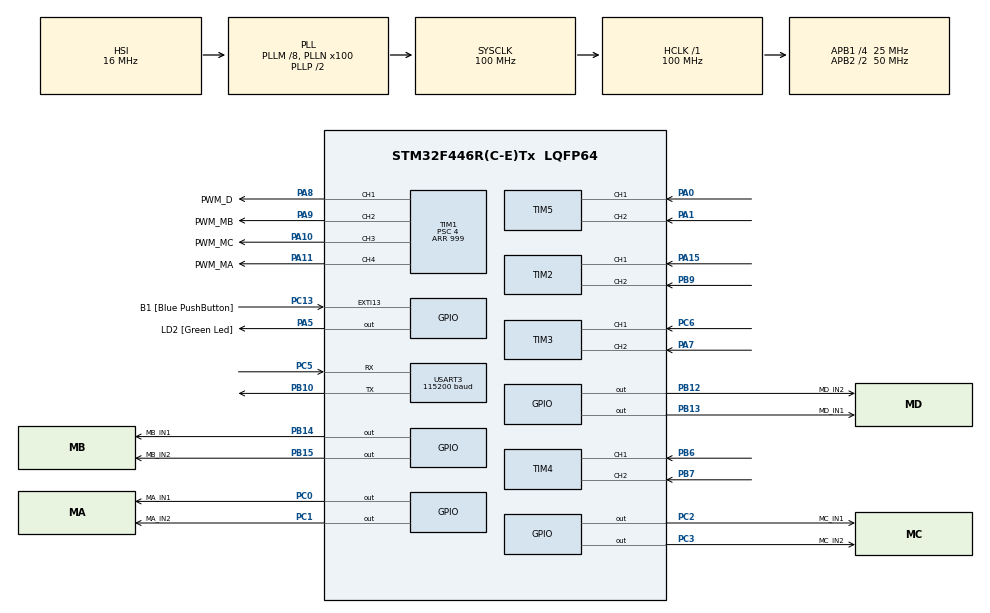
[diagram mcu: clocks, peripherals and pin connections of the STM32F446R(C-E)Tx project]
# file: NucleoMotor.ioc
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Dma.Request0=USART3_RX
Dma.USART3_RX.0.Direction=DMA_PERIPH_TO_MEMORY
Dma.USART3_RX.0.FIFOMode=DMA_FIFOMODE_DISABLE
Dma.USART3_RX.0.Instance=DMA1_Stream1
Dma.USART3_RX.0.MemDataAlignment=DMA_MDATAALIGN_BYTE
Dma.USART3_RX.0.MemInc=DMA_MINC_ENABLE
Dma.USART3_RX.0.Mode=DMA_NORMAL
Dma.USART3_RX.0.PeriphDataAlignment=DMA_PDATAALIGN_BYTE
Dma.USART3_RX.0.PeriphInc=DMA_PINC_DISABLE
Dma.USART3_RX.0.Priority=DMA_PRIORITY_LOW
Mcu.Family=STM32F4
Mcu.Name=STM32F446R(C-E)Tx
Mcu.Package=LQFP64
NVIC.DMA1_Stream1_IRQn=true\:0\:0\:false\:false\:true\:false\:true\:true
NVIC.PriorityGroup=NVIC_PRIORITYGROUP_0
NVIC.TIM1_BRK_TIM9_IRQn=true\:0\:0\:false\:false\:true\:true\:true\:true
NVIC.TIM1_CC_IRQn=true\:0\:0\:false\:false\:true\:true\:true\:true
NVIC.TIM1_TRG_COM_TIM11_IRQn=true\:0\:0\:false\:false\:true\:true\:true\:true
NVIC.TIM1_UP_TIM10_IRQn=true\:0\:0\:false\:false\:true\:true\:true\:true
NVIC.TIM6_DAC_IRQn=true\:0\:0\:false\:false\:true\:true\:true\:true
NVIC.USART3_IRQn=true\:0\:0\:false\:false\:true\:true\:true\:true
PA0-WKUP.Signal=S_TIM5_CH1
PA1.Signal=S_TIM5_CH2
PA10.GPIO_Label=PWM_MC
PA10.Signal=S_TIM1_CH3
PA11.GPIO_Label=PWM_MA
PA11.Signal=S_TIM1_CH4
PA13.GPIO_Label=TMS
PA13.Mode=Serial_Wire
PA13.Signal=SYS_JTMS-SWDIO
PA14.GPIO_Label=TCK
PA14.Mode=Serial_Wire
PA14.Signal=SYS_JTCK-SWCLK
PA15.Signal=S_TIM2_CH1_ETR
PA2.GPIO_Label=USART_TX
PA2.Signal=USART2_TX
PA3.GPIO_Label=USART_RX
PA3.Signal=USART2_RX
PA5.GPIO_Label=LD2 [Green Led]
PA5.Signal=GPIO_Output
PA7.Signal=S_TIM3_CH2
PA8.GPIO_Label=PWM_D
PA8.Signal=S_TIM1_CH1
PA9.GPIO_Label=PWM_MB
PA9.Signal=S_TIM1_CH2
PB10.Mode=Asynchronous
PB10.Signal=USART3_TX
PB12.GPIO_Label=MD_IN2
PB12.Signal=GPIO_Output
PB13.GPIO_Label=MD_IN1
PB13.Signal=GPIO_Output
PB14.GPIO_Label=MB_IN1
PB14.Signal=GPIO_Output
PB15.GPIO_Label=MB_IN2
PB15.Signal=GPIO_Output
PB3.GPIO_Label=SWO
PB3.Signal=SYS_JTDO-SWO
PB6.Signal=S_TIM4_CH1
PB7.Signal=S_TIM4_CH2
PB9.Signal=S_TIM2_CH2
PC0.GPIO_Label=MA_IN1
PC0.Signal=GPIO_Output
PC1.GPIO_Label=MA_IN2
PC1.Signal=GPIO_Output
PC13.GPIO_Label=B1 [Blue PushButton]
PC13.GPIO_ModeDefaultEXTI=GPIO_MODE_IT_FALLING
PC13.Signal=GPXTI13
PC14-OSC32_IN.Signal=RCC_OSC32_IN
PC15-OSC32_OUT.Signal=RCC_OSC32_OUT
PC2.GPIO_Label=MC_IN1
PC2.Signal=GPIO_Output
PC3.GPIO_Label=MC_IN2
PC3.Signal=GPIO_Output
PC5.Mode=Asynchronous
PC5.Signal=USART3_RX
PC6.Signal=S_TIM3_CH1
PH0-OSC_IN.Signal=RCC_OSC_IN
PH1-OSC_OUT.Signal=RCC_OSC_OUT
ProjectManager.HeapSize=0x200
ProjectManager.StackSize=0x400
ProjectManager.TargetToolchain=STM32CubeIDE
RCC.AHBFreq_Value=100000000
RCC.APB1CLKDivider=RCC_HCLK_DIV4
RCC.APB1Freq_Value=25000000
RCC.APB1TimFreq_Value=50000000
RCC.APB2CLKDivider=RCC_HCLK_DIV2
RCC.APB2Freq_Value=50000000
RCC.APB2TimFreq_Value=100000000
RCC.CortexFreq_Value=100000000
RCC.FLatency-AdvancedSettings=FLASH_LATENCY_3
RCC.HCLKFreq_Value=100000000
RCC.HSE_VALUE=8000000
RCC.HSI_VALUE=16000000
RCC.LSE_VALUE=32768
RCC.PLLM=8
RCC.PLLN=100
RCC.SYSCLKFreq_VALUE=100000000
RCC.SYSCLKSource=RCC_SYSCLKSOURCE_PLLCLK
RCC.USBFreq_Value=100000000
RCC.VCOOutputFreq_Value=200000000
SH.S_TIM1_CH1.0=TIM1_CH1,PWM Generation1 CH1
SH.S_TIM1_CH2.0=TIM1_CH2,PWM Generation2 CH2
SH.S_TIM1_CH3.0=TIM1_CH3,PWM Generation3 CH3
SH.S_TIM1_CH4.0=TIM1_CH4,PWM Generation4 CH4
SH.S_TIM2_CH1_ETR.0=TIM2_CH1,Encoder_Interface
SH.S_TIM2_CH2.0=TIM2_CH2,Encoder_Interface
SH.S_TIM3_CH1.0=TIM3_CH1,Encoder_Interface
SH.S_TIM3_CH2.0=TIM3_CH2,Encoder_Interface
SH.S_TIM4_CH1.0=TIM4_CH1,Encoder_Interface
SH.S_TIM4_CH2.0=TIM4_CH2,Encoder_Interface
SH.S_TIM5_CH1.0=TIM5_CH1,Encoder_Interface
SH.S_TIM5_CH2.0=TIM5_CH2,Encoder_Interface
TIM1.Channel-PWM\ Generation1\ CH1=TIM_CHANNEL_1
TIM1.Channel-PWM\ Generation2\ CH2=TIM_CHANNEL_2
TIM1.Channel-PWM\ Generation3\ CH3=TIM_CHANNEL_3
TIM1.Channel-PWM\ Generation4\ CH4=TIM_CHANNEL_4
TIM1.Period=999
TIM1.Prescaler=4
TIM1.Pulse-PWM\ Generation1\ CH1=0
TIM1.Pulse-PWM\ Generation2\ CH2=0
TIM1.Pulse-PWM\ Generation3\ CH3=0
TIM1.Pulse-PWM\ Generation4\ CH4=0
TIM10.Period=99
TIM10.Prescaler=9999
TIM11.Period=99
TIM11.Prescaler=9999
TIM2.EncoderMode=TIM_ENCODERMODE_TI12
TIM2.IC1Filter=15
TIM2.IC2Filter=15
TIM3.EncoderMode=TIM_ENCODERMODE_TI12
TIM3.IC1Filter=15
TIM3.IC2Filter=15
TIM4.EncoderMode=TIM_ENCODERMODE_TI12
TIM4.IC1Filter=15
TIM6.Period=49999
TIM6.Prescaler=99
USART3.BaudRate=115200
USART3.VirtualMode=VM_ASYNC
VP_TIM10_VS_ClockSourceINT.Mode=Enable_Timer
VP_TIM11_VS_ClockSourceINT.Mode=Enable_Timer
VP_TIM1_VS_ClockSourceINT.Mode=Internal
VP_TIM6_VS_ClockSourceINT.Mode=Enable_Timer
board=NUCLEO-F446RE

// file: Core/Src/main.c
/* USER CODE BEGIN Header */
/**
  ******************************************************************************
  * @file           : main.c
  * @brief          : Main program body
  ******************************************************************************
  * @attention
  *
  * Copyright (c) 2025 STMicroelectronics.
  * All rights reserved.
  *
  * This software is licensed under terms that can be found in the LICENSE file
  * in the root directory of this software component.
  * If no LICENSE file comes with this software, it is provided AS-IS.
  *
  ******************************************************************************
  */
/* USER CODE END Header */
#include "main.h"
#include "dma.h"
#include "tim.h"
#include "usart.h"
#include "gpio.h"

/* USER CODE BEGIN Includes */
#include "MotorDriver.h"
#include "motor.h"
#include "pid.h"
#include "l289n.h"
#include "estpos.h"
/* USER CODE END Includes */

/* USER CODE BEGIN PV */
uint8_t RxBuffer[3];
uint8_t DataUARTrx[3];
uint8_t LEN_BUF_RX_UART;
uint8_t FluartRxFull = 0;
volatile steering RxSteering;
uint16_t relRatio = 0;
volatile int32_t curr_pos;
volatile int32_t delta;
volatile motor_str motors[NUMBER_OF_MOTORS];
uint8_t pidOff_L = 0;
uint8_t pidOff_R = 0;
int posX = 0;
int posY = 0;
float alpha = 0;
int vL = 0;
int vR = 0;
float walpha = 0;
/* USER CODE END PV */

void SystemClock_Config(void);
/* USER CODE BEGIN PFP */
/*void HAL_UART_RxCpltCallback(UART_HandleTypeDef *huart)
{
  if(huart == &huart3)
  {

    RxSteering.leftSpeed = RxBuffer[0];
    RxSteering.rightSpeed = RxBuffer[1];
    switch (RxBuffer[2]) {
		case 1:	//left signed
			RxSteering.leftSpeed *=-1;
			break;
		case 2:	//right signed
			RxSteering.rightSpeed *=-1;
			break;
		case 3:	//both signed
			RxSteering.leftSpeed *=-1;
			RxSteering.rightSpeed *=-1;
			break;
		default:
			break;
	}

    motor_set_speed(&motors[0], (int)(RxSteering.leftSpeed*1.6));
    motor_set_speed(&motors[1], (int)(RxSteering.rightSpeed*1.6));

HAL_UART_Receive_IT(&huart3,RxBuffer,3);
//__HAL_TIM_SET_COUNTER(&htim9, 0);

    //watchdog reset

  }
}*/
void HAL_UART_ErrorCallback(UART_HandleTypeDef *huart)
{

  if( huart == &huart3 ) HAL_UART_Receive_IT(&huart3,RxBuffer,3);
}
/* USER CODE END PFP */

/* USER CODE BEGIN 0 */
void InitUARTrx(){
	HAL_UARTEx_ReceiveToIdle_DMA(&huart3, DataUARTrx, LEN_BUF_RX_UART);
}
void HAL_UARTEx_RxEventCallback(UART_HandleTypeDef *huart, uint16_t Size){
	if(huart == &huart3){
		FluartRxFull = Size;
		InitUARTrx();
	}
}
/* USER CODE END 0 */

int main(void)
{

  /* MCU Configuration--------------------------------------------------------*/

  /* Reset of all peripherals, Initializes the Flash interface and the Systick. */
  HAL_Init();

  /* Configure the system clock */
  SystemClock_Config();

  /* Initialize all configured peripherals */
  MX_GPIO_Init();
  MX_DMA_Init();
  MX_TIM1_Init();
  MX_TIM2_Init();
  MX_TIM3_Init();
  MX_TIM4_Init();
  MX_USART3_UART_Init();
  MX_TIM5_Init();
  MX_TIM10_Init();
  MX_TIM6_Init();
  MX_TIM11_Init();

  /* Infinite loop */
  /* USER CODE BEGIN WHILE */

//  HAL_GPIO_WritePin(M1_IN1_GPIO_Port, M1_IN1_Pin | M1_IN3_Pin | M1_IN4_Pin, GPIO_PIN_RESET);
//  HAL_GPIO_WritePin(M1_IN1_GPIO_Port, M1_IN2_Pin, GPIO_PIN_SET);
//  HAL_TIM_Base_Start(&htim1);
//  HAL_TIM_PWM_Start(&htim1, TIM_CHANNEL_3);
//  HAL_TIM_PWM_Start(&htim1, TIM_CHANNEL_4);
//  HAL_TIM_PWM_Start(&htim1, TIM_CHANNEL_1);
//  HAL_TIM_PWM_Start(&htim1, TIM_CHANNEL_2);
//  HAL_UART_Receive_IT(&huart3,RxBuffer,6);
//  HAL_TIM_Base_Start_IT(&htim6);
//  HAL_TIM_Base_Start_IT(&htim9);
//  HAL_TIM_Base_Start_IT(&htim10);
//  HAL_NVIC_EnableIRQ(TIM1_BRK_TIM9_IRQn);
//  HAL_NVIC_EnableIRQ(TIM1_UP_TIM10_IRQn);
  HAL_UART_Receive_IT(&huart3,RxBuffer,3);
  l289n_init();
  motor_str_init(&motors[0], &htim4, A);
  motor_str_init(&motors[1], &htim3, B);
  pid_init(&motors[0].pid_controller, MOTOR_A_Kp, MOTOR_A_Ki, MOTOR_A_Kd, MOTOR_A_ANTI_WINDUP);
  pid_init(&motors[1].pid_controller, MOTOR_B_Kp, MOTOR_B_Ki, MOTOR_B_Kd, MOTOR_B_ANTI_WINDUP);
  HAL_TIM_Base_Start_IT(&htim6);
  //HAL_TIM_Encoder_Start(&htim2, TIM_CHANNEL_ALL);
  HAL_TIM_Encoder_Start(&htim3, TIM_CHANNEL_ALL);
  HAL_TIM_Encoder_Start(&htim4, TIM_CHANNEL_ALL);
   while (1)
  {
	   if(FluartRxFull == 3)
	   {
		   memcpy(RxBuffer, DataUARTrx, 3);
		   RxSteering.leftSpeed = RxBuffer[0];
		       RxSteering.rightSpeed = RxBuffer[1];
		       switch (RxBuffer[2]) {
		   		case 1:	//left signed
		   			RxSteering.leftSpeed *=-1;
		   			break;
		   		case 2:	//right signed
		   			RxSteering.rightSpeed *=-1;
		   			break;
		   		case 3:	//both signed
		   			RxSteering.leftSpeed *=-1;
		   			RxSteering.rightSpeed *=-1;
		   			break;
		   		default:
		   			break;
		   	}

		       motor_set_speed(&motors[0], (int)(RxSteering.leftSpeed*1.6));
		       motor_set_speed(&motors[1], (int)(RxSteering.rightSpeed*1.6));

		   HAL_UART_Receive_IT(&huart3,RxBuffer,3);
		   FluartRxFull = 0;
	   }
    /* USER CODE END WHILE */

  }
}

void SystemClock_Config(void)
{
  RCC_OscInitTypeDef RCC_OscInitStruct = {0};
  RCC_ClkInitTypeDef RCC_ClkInitStruct = {0};

  /** Configure the main internal regulator output voltage
  */
  __HAL_RCC_PWR_CLK_ENABLE();
  __HAL_PWR_VOLTAGESCALING_CONFIG(PWR_REGULATOR_VOLTAGE_SCALE3);

  /** Initializes the RCC Oscillators according to the specified parameters
  * in the RCC_OscInitTypeDef structure.
  */
  RCC_OscInitStruct.OscillatorType = RCC_OSCILLATORTYPE_HSI;
  RCC_OscInitStruct.HSIState = RCC_HSI_ON;
  RCC_OscInitStruct.HSICalibrationValue = RCC_HSICALIBRATION_DEFAULT;
  RCC_OscInitStruct.PLL.PLLState = RCC_PLL_ON;
  RCC_OscInitStruct.PLL.PLLSource = RCC_PLLSOURCE_HSI;
  RCC_OscInitStruct.PLL.PLLM = 8;
  RCC_OscInitStruct.PLL.PLLN = 100;
  RCC_OscInitStruct.PLL.PLLP = RCC_PLLP_DIV2;
  RCC_OscInitStruct.PLL.PLLQ = 2;
  RCC_OscInitStruct.PLL.PLLR = 2;
  if (HAL_RCC_OscConfig(&RCC_OscInitStruct) != HAL_OK)
  {
    Error_Handler();
  }

  /** Initializes the CPU, AHB and APB buses clocks
  */
  RCC_ClkInitStruct.ClockType = RCC_CLOCKTYPE_HCLK|RCC_CLOCKTYPE_SYSCLK
                              |RCC_CLOCKTYPE_PCLK1|RCC_CLOCKTYPE_PCLK2;
  RCC_ClkInitStruct.SYSCLKSource = RCC_SYSCLKSOURCE_PLLCLK;
  RCC_ClkInitStruct.AHBCLKDivider = RCC_SYSCLK_DIV1;
  RCC_ClkInitStruct.APB1CLKDivider = RCC_HCLK_DIV4;
  RCC_ClkInitStruct.APB2CLKDivider = RCC_HCLK_DIV2;

  if (HAL_RCC_ClockConfig(&RCC_ClkInitStruct, FLASH_LATENCY_3) != HAL_OK)
  {
    Error_Handler();
  }
}

void Error_Handler(void)
{
  __disable_irq();
  while (1)
  {
  }
}
